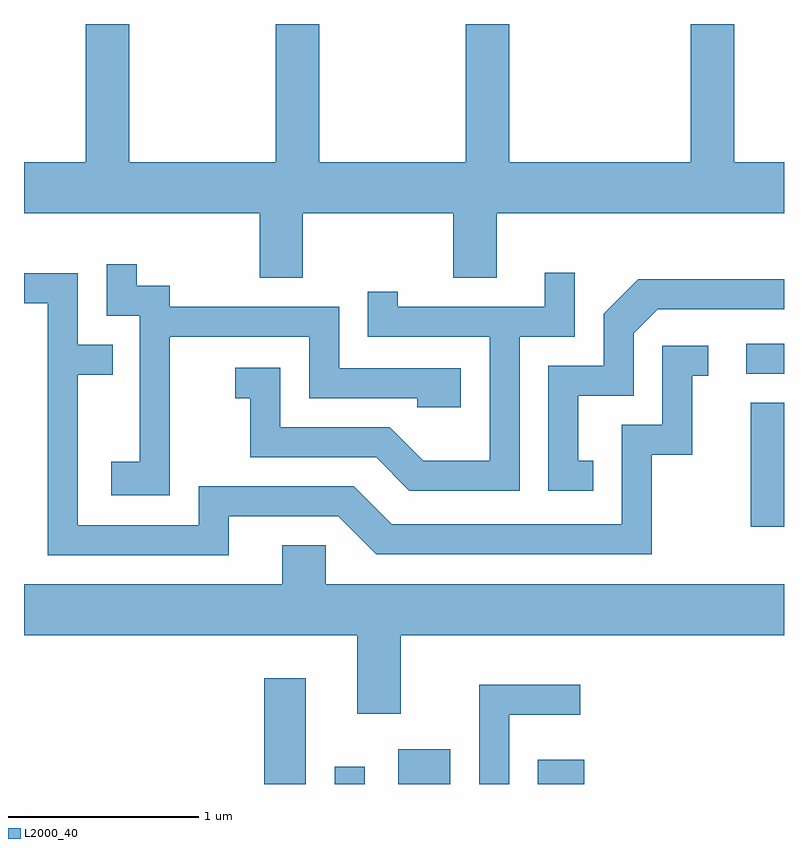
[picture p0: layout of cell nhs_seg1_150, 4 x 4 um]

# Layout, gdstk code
import gdstk
lib = gdstk.Library(unit=1e-6, precision=1e-09)
def R(c, l, rs):  # rectangles x0, y0, x1, y1
    for r in rs: c.add(gdstk.rectangle(r[:2], r[2:], *l))
def P(c, l, *ps):  # polygons
    for p in ps: c.add(gdstk.Polygon(p, *l))
L2000_40 = (2000, 40)

nhs_seg1_150 = lib.new_cell('nhs_seg1_150')
R(nhs_seg1_150, L2000_40, [(190.876,867.712,191.094,868.269), (191.246,867.712,191.404,867.803), (191.581,867.712,191.854,867.894), (192.316,867.712,192.559,867.839), (193.436,869.066,193.611,869.719), (193.413,869.871,193.611,870.029)])
P(nhs_seg1_150, L2000_40, [(191.079,870.716),(191.871,870.716),(191.871,870.376),(192.099,870.376),(192.099,870.716),(193.611,870.716),(193.611,870.984),(193.349,870.984),(193.349,871.712),(193.121,871.712),(193.121,870.984),(192.164,870.984),(192.164,871.712),(191.936,871.712),(191.936,870.984),(191.164,870.984),(191.164,871.712),(190.936,871.712),(190.936,870.984),(190.164,870.984),(190.164,871.712),(189.936,871.712),(189.936,870.984),(189.611,870.984),(189.611,870.716),(190.851,870.716),(190.851,870.376),(191.079,870.376)],
  [(190.379,870.066),(191.111,870.066),(191.111,869.741),(191.681,869.741),(191.681,869.696),(191.909,869.696),(191.909,869.899),(191.269,869.899),(191.269,870.224),(190.379,870.224),(190.379,870.334),(190.204,870.334),(190.204,870.448),(190.046,870.448),(190.046,870.176),(190.221,870.176),(190.221,869.409),(190.071,869.409),(190.071,869.231),(190.379,869.231)],
  [(192.219,870.066),(192.509,870.066),(192.509,870.403),(192.351,870.403),(192.351,870.224),(191.579,870.224),(191.579,870.303),(191.421,870.303),(191.421,870.066),(192.061,870.066),(192.061,869.414),(191.712,869.414),(191.537,869.589),(190.959,869.589),(190.959,869.904),(190.723,869.904),(190.723,869.741),(190.801,869.741),(190.801,869.431),(191.464,869.431),(191.639,869.256),(192.219,869.256)],
  [(190.689,869.121),(191.264,869.121),(191.464,868.921),(192.914,868.921),(192.914,869.446),(193.129,869.446),(193.129,869.861),(193.213,869.861),(193.213,870.019),(192.971,870.019),(192.971,869.604),(192.756,869.604),(192.756,869.079),(191.547,869.079),(191.347,869.279),(190.531,869.279),(190.531,869.074),(189.894,869.074),(189.894,869.866),(190.078,869.866),(190.078,870.024),(189.894,870.024),(189.894,870.399),(189.611,870.399),(189.611,870.241),(189.736,870.241),(189.736,868.916),(190.689,868.916)],
  [(192.608,869.414),(192.529,869.414),(192.529,869.756),(192.819,869.756),(192.819,870.084),(192.947,870.211),(193.611,870.211),(193.611,870.369),(192.844,870.369),(192.661,870.187),(192.661,869.914),(192.371,869.914),(192.371,869.256),(192.608,869.256)],
  [(191.594,868.496),(193.611,868.496),(193.611,868.764),(191.199,868.764),(191.199,868.969),(190.971,868.969),(190.971,868.764),(189.611,868.764),(189.611,868.496),(191.366,868.496),(191.366,868.081),(191.594,868.081)],
  [(192.164,868.076),(192.538,868.076),(192.538,868.234),(192.006,868.234),(192.006,867.712),(192.164,867.712)])

lib.write_gds('nhs_seg1_150.gds')
